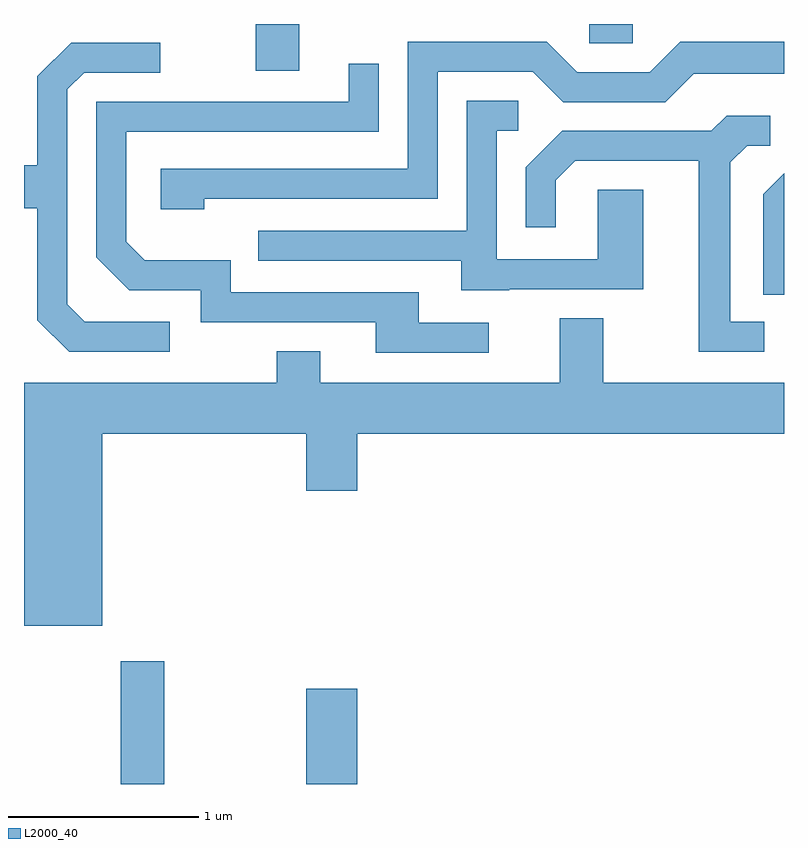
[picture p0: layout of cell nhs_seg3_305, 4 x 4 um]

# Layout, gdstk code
import gdstk
lib = gdstk.Library(unit=1e-6, precision=1e-09)
def R(c, l, rs):  # rectangles x0, y0, x1, y1
    for r in rs: c.add(gdstk.rectangle(r[:2], r[2:], *l))
def P(c, l, *ps):  # polygons
    for p in ps: c.add(gdstk.Polygon(p, *l))
L2000_40 = (2000, 40)

nhs_seg3_305 = lib.new_cell('nhs_seg3_305')
R(nhs_seg3_305, L2000_40, [(194.121,1181.892,194.349,1182.539), (195.096,1181.892,195.364,1182.394), (194.831,1185.646,195.059,1185.892), (196.586,1185.791,196.814,1185.892)])
P(nhs_seg3_305, L2000_40, [(194.559,1184.971),(195.789,1184.971),(195.789,1185.641),(196.289,1185.641),(196.449,1185.481),(196.987,1185.481),(197.137,1185.631),(197.611,1185.631),(197.611,1185.799),(197.064,1185.799),(196.904,1185.639),(196.522,1185.639),(196.362,1185.799),(195.631,1185.799),(195.631,1185.129),(194.331,1185.129),(194.331,1184.916),(194.559,1184.916)],
  [(194.378,1184.324),(193.932,1184.324),(193.839,1184.417),(193.839,1185.549),(193.927,1185.636),(194.328,1185.636),(194.328,1185.794),(193.859,1185.794),(193.681,1185.617),(193.681,1185.149),(193.611,1185.149),(193.611,1184.921),(193.681,1184.921),(193.681,1184.334),(193.849,1184.166),(194.378,1184.166)],
  [(196.058,1184.319),(195.689,1184.319),(195.689,1184.479),(194.699,1184.479),(194.699,1184.649),(194.247,1184.649),(194.149,1184.747),(194.149,1185.326),(195.479,1185.326),(195.479,1185.683),(195.321,1185.683),(195.321,1185.484),(193.991,1185.484),(193.991,1184.664),(194.164,1184.491),(194.541,1184.491),(194.541,1184.321),(195.461,1184.321),(195.461,1184.161),(196.058,1184.161)],
  [(196.165,1184.496),(196.869,1184.496),(196.869,1185.019),(196.631,1185.019),(196.631,1184.654),(196.099,1184.654),(196.099,1185.331),(196.213,1185.331),(196.213,1185.489),(195.941,1185.489),(195.941,1184.804),(194.843,1184.804),(194.843,1184.646),(195.911,1184.646),(195.911,1184.491),(196.165,1184.491)],
  [(197.508,1184.324),(197.329,1184.324),(197.329,1185.164),(197.417,1185.251),(197.538,1185.251),(197.538,1185.409),(197.309,1185.409),(197.229,1185.329),(196.444,1185.329),(196.251,1185.137),(196.251,1184.823),(196.409,1184.823),(196.409,1185.069),(196.512,1185.171),(197.161,1185.171),(197.161,1184.166),(197.508,1184.166)],
  [(197.611,1185.107),(197.501,1184.997),(197.501,1184.468),(197.611,1184.468)],
  [(194.024,1183.736),(195.096,1183.736),(195.096,1183.436),(195.364,1183.436),(195.364,1183.736),(197.611,1183.736),(197.611,1184.004),(196.659,1184.004),(196.659,1184.344),(196.431,1184.344),(196.431,1184.004),(195.169,1184.004),(195.169,1184.169),(194.941,1184.169),(194.941,1184.004),(193.611,1184.004),(193.611,1182.726),(194.024,1182.726)])

lib.write_gds('nhs_seg3_305.gds')
